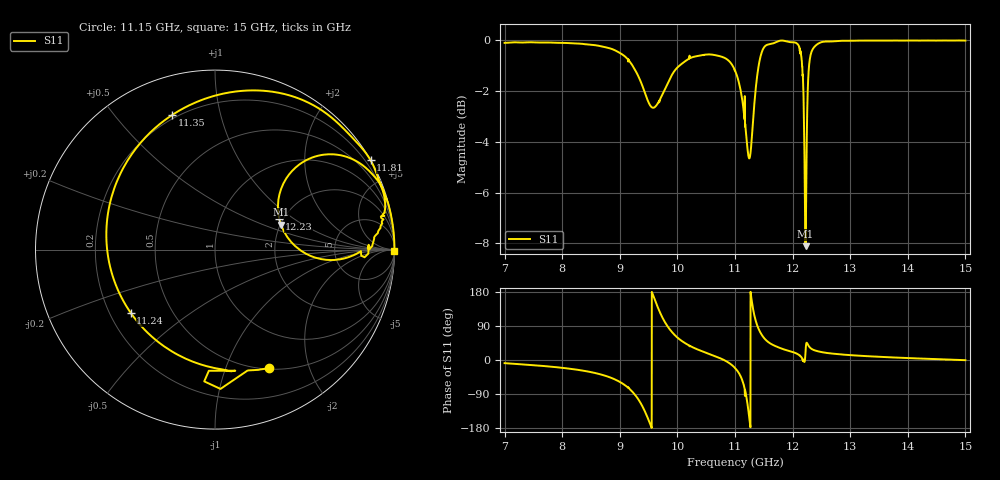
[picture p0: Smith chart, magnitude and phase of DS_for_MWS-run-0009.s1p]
! TOUCHSTONE file generated by CST DESIGN STUDIO
! Date and time: Mon Feb 10 16:52:28 2025
! Project name: C:\Work\MatlabApps\UnitCellType2OptimizationMatlab\CST\unitcell.cst
! Tree item: Tasks\Sweep1\SPara1\S-Parameters
! Header version: 2024
! Port assignment regex: !\s*Touchstone port\s*([0-9]+)\s*=\s*(CST MWS port|CST DES external port|CST DES block port)\s*(.+)\s* \(\"(.*)\"\)(\s*mode\s*([0-9]+))?.*
! Touchstone port assignment:
! Touchstone port 1 = CST DES external port 1 ("")
# GHz S MA R 50
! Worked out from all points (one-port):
!   4001 points, 7 GHz to 15 GHz, reference 50 ohm
!   lowest |S11| = -8.1 dB at 12.22 GHz (marker M1), VSWR 2.29, Z = 101 + j33.1 ohm
!   |S11| at or under -10 dB: nowhere
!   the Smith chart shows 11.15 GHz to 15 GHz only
!   S11 on the Smith chart (normalised r, x): 11.15 GHz: 0.51, -1.42; 11.24 GHz: 0.29, -0.31; 11.35 GHz: 0.18, +0.71; 11.81 GHz: 0.00, +3.75; 12.23 GHz: 1.91, +0.77; 15 GHz: open
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7  0.9892 -8.3
8  0.9894 -20.6
8.62  0.9768 -36.1
9  0.945 -57.8
9.326  0.848 -104.8
9.548  0.7394 -177.0
9.748  0.7858 109.6
10  0.8844 59.2
10.478  0.9374 20.2
11  0.8726 -21.0
11.152  0.7256 -65.6
11.198  0.6439 -97.5
11.24  0.587 -143.1
11.29  0.6379 157.1
11.352  0.7869 107.7
11.42  0.904 78.6
11.526  0.9756 54.3
11.814  0.9997 29.8
12  0.9918 21.1
12.144  0.9433 8.9
12.188  0.7905 -1.6
12.224  0.3929 20.6
12.226  0.3966 25.3
12.288  0.8977 35.1
12.45  0.9865 22.6
13  0.9983 12.9
14  0.9998 5.1
15  0.9994 -0.5
